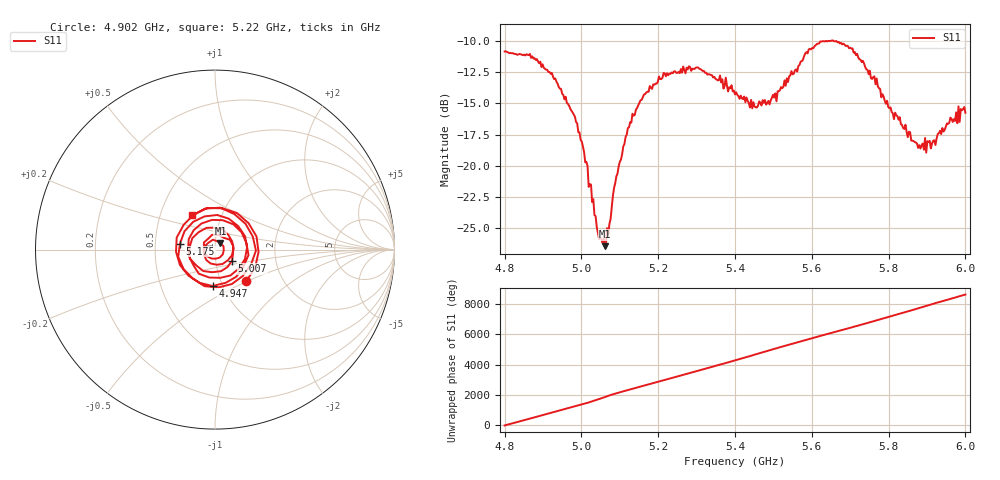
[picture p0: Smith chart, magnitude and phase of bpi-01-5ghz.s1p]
! NanoVNA-App
! Date: 2026-05-22 17:51:54
! Start: 4.8GHz Stop: 6GHz Points: 401
! S-Parameter data: F S11
# Hz S RI R 50
!  Frequency  S11_Real  S11_Imag
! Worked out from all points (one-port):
!   401 points, 4.8 GHz to 6 GHz, reference 50 ohm
!   lowest |S11| = -26.5 dB at 5.061 GHz (marker M1), VSWR 1.10, Z = 53 + j3.89 ohm
!   |S11| at or under -10 dB: start of sweep to 5.636 GHz; 5.657758 GHz to 5.662919 GHz (5.161 MHz wide, 0.0912 % of centre); 5.664 GHz to end of sweep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
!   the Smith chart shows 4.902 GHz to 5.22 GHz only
!   S11 on the Smith chart (normalised r, x): 4.902 GHz: 1.32, -0.49; 4.947 GHz: 0.90, -0.38; 5.007 GHz: 1.20, -0.15; 5.175 GHz: 0.67, +0.05; 5.22 GHz: 0.73, +0.29
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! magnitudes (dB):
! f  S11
! 4.8 GHz  -10.8
! 4.866 GHz  -11.0
! 4.902 GHz  -12.1
! 4.947 GHz  -13.8
! 4.95 GHz  -14.2
! 4.983 GHz  -16.1
! 5.007 GHz  -18.9
! 5.04 GHz  -24.9
! 5.049 GHz  -25.8
! 5.061 GHz  -26.5
! 5.07 GHz  -25.5
! 5.088 GHz  -21.4
! 5.1 GHz  -19.7
! 5.127 GHz  -16.5
! 5.175 GHz  -14.1
! 5.22 GHz  -12.8
! 5.25 GHz  -12.6
! 5.304 GHz  -12.1
! 5.4 GHz  -14.3
! 5.451 GHz  -15.2
! 5.487 GHz  -14.8
! 5.55 GHz  -12.7
! 5.622 GHz  -10.0
! 5.7 GHz  -10.5
! 5.85 GHz  -17.7
! 5.877 GHz  -18.6
! 5.916 GHz  -18.0
! 6 GHz  -15.8
